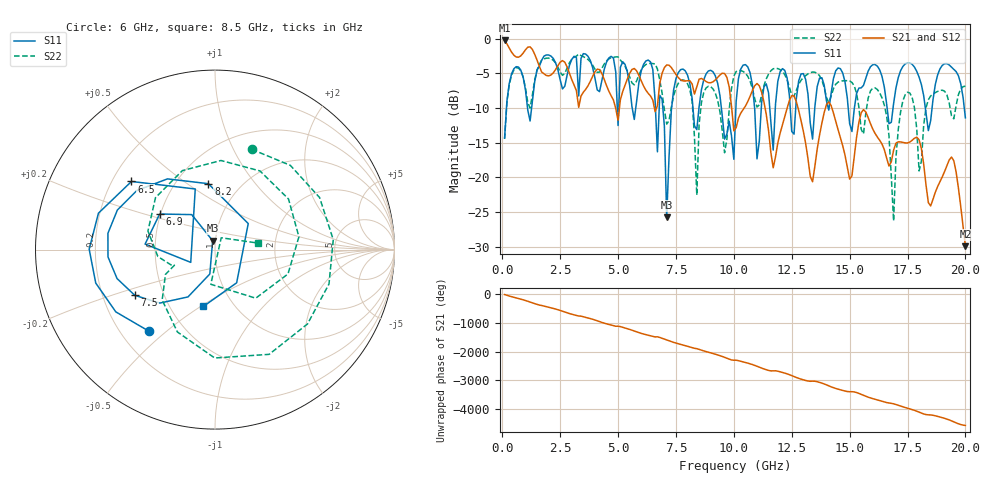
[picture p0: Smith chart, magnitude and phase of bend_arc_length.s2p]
! Touchstone file exported from Ansys Full-Wave Spice
! Project: bend_arc_length
!  Design: unknown
! Creation time: Tue Aug 11 13:46:51 2026
! Notes: Touchstone(R) file created by SIwave 2026 R1
!  : Touchstone(R) file created on Tue Aug 11 13:46:50 2026
!  : Design: Cell_Z7OXNK
!  : Path:
!  : *** SIwave SYZ Simulation Settings ***
!  : SI/PI Main
!  :  SI Simulation -  Balanced
!  : SI/PI Advanced
!  :  Coupling
!  :  Coplane: On
!  :  Intra-plane: Off
!  :  Split-plane: On
!  :  Cavity field: On
!  :  Trace: On
!  :  Cross-talk threshold: -34dB
!  :  Max. coupled lines: 12
!  :  Geometry Processing
!  :  Void area threshold: 2mm^2
!  :  Pad area threshold: 8.712mm^2
!  :  Planes area threshold: 3.66025E-05mm^2
!  :  Vertex snap distance threshold: 0.0025mm
!  :  Mesh Refinement
!  :  Auto
!  :  AC/DC Merge
!  :  Default
!  :  Trace return current distribution: Off
!  :  Include voltage/current source parasitics: No
!  :  Add infinite ground plane: No
!  :  Exclude non-functional pads: Yes
!  : Temperature
!  :  Uniform distribution: 20cel
!  : Net Processing
!  :  Auto select nets
!  : S-parameter Modeling
!  :  State Space Model
!  : Sweep
!  :  Name: TDR_VALIDATION_bend_arc_length
!  :  AC/DC Merge: Off
!  :  Discrete Sweep
!  :  Frequency Point Distribution:
!  :  Linear Step: 1E+08Hz -> 2E+10Hz 1E+08Hz step
!  :  Enforce Causality: Yes
!  :  Enforce Passivity: Yes
!  :  Q3D Regions: Off
!  :  HFSS Regions: Off
! Modal data exported
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# HZ S RI R 50
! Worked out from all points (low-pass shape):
!   200 points, 100 MHz to 20 GHz, reference 50 ohm
!   highest |S21| = -0.26 dB at 100 MHz (marker M1); lowest = -29.9 dB at 20 GHz (marker M2)
!   |S21| within 3 dB of the highest: start of sweep to 1.519 GHz; 2.558 GHz to 2.64 GHz (82.28 MHz wide, 3.17 % of centre)
!   lowest |S11| = -25.8 dB at 7.1 GHz (marker M3), VSWR 1.11, Z = 48.5 + j4.84 ohm
!   |S11| at or under -10 dB: 6.933 GHz to 7.312 GHz (379 MHz wide, 5.32 % of centre); 9.461 GHz to 10.09 GHz (627.2 MHz wide, 6.42 % of centre); 10.9 GHz to 11.19 GHz (289 MHz wide, 2.62 % of centre)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
!   |S22| runs from -26.3 to -2.2 dB; largest |S21 - S12| = 0
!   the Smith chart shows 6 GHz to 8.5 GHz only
!   S11 on the Smith chart (normalised r, x): 6 GHz: 0.32, -0.44; 6.5 GHz: 0.28, +0.33; 6.9 GHz: 0.49, +0.23; 7.5 GHz: 0.34, -0.24; 8.2 GHz: 0.71, +0.61; 8.5 GHz: 0.73, -0.51
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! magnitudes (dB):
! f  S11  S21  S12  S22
! 100 MHz  -14.3  -0.3  -0.3  -14.5
! 3.5 GHz  -2.2  -7.7  -7.7  -2.6
! 6 GHz  -4.7  -6.1  -6.1  -4.5
! 6.5 GHz  -4.4  -8.8  -8.8  -3.6
! 6.7 GHz  -16.3  -9.7  -9.7  -4.4
! 6.8 GHz  -8.2  -6.5  -6.5  -5.9
! 6.9 GHz  -8.7  -5.0  -5.0  -7.8
! 7.1 GHz  -25.8  -3.8  -3.8  -12.3
! 7.5 GHz  -5.8  -5.2  -5.2  -7.1
! 8.2 GHz  -8.7  -6.5  -6.5  -9.0
! 8.4 GHz  -13.1  -7.0  -7.0  -22.6
! 8.5 GHz  -9.8  -5.8  -5.8  -12.4
! 9.6 GHz  -14.5  -5.0  -5.0  -16.4
! 10.1 GHz  -9.0  -12.8  -12.8  -4.7
! 12.6 GHz  -13.8  -8.3  -8.3  -8.3
! 13.4 GHz  -14.5  -20.6  -20.6  -4.8
! 14.1 GHz  -10.3  -9.1  -9.1  -9.2
! 16.7 GHz  -12.3  -18.4  -18.4  -14.0
! 16.9 GHz  -9.4  -16.1  -16.1  -26.3
! 17.4 GHz  -3.6  -15.0  -15.0  -8.1
! 18 GHz  -5.5  -14.6  -14.6  -19.1
! 20 GHz  -11.4  -29.9  -29.9  -6.9
